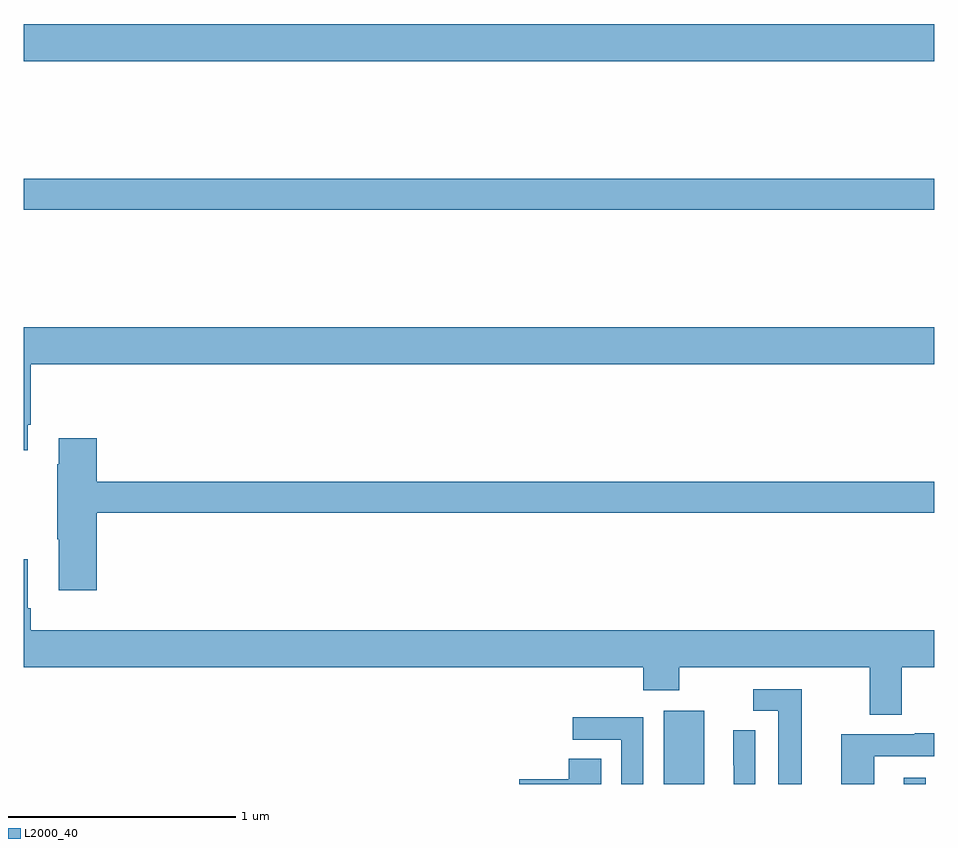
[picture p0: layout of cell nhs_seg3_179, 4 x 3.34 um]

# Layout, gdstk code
import gdstk
lib = gdstk.Library(unit=1e-6, precision=1e-09)
def R(c, l, rs):  # rectangles x0, y0, x1, y1
    for r in rs: c.add(gdstk.rectangle(r[:2], r[2:], *l))
def P(c, l, *ps):  # polygons
    for p in ps: c.add(gdstk.Polygon(p, *l))
L2000_40 = (2000, 40)

nhs_seg3_179 = lib.new_cell('nhs_seg3_179')
R(nhs_seg3_179, L2000_40, [(121.811,704.4,121.99,704.722), (122.867,704.4,122.964,704.428), (119,706.924,123,707.06), (119,707.576,123,707.74)])
P(nhs_seg3_179, L2000_40, [(119.017,705.979),(119.03,705.979),(119.03,706.244),(123,706.244),(123,706.408),(119,706.408),(119,705.867),(119.017,705.867)],
  [(119.321,705.592),(123,705.592),(123,705.728),(119.321,705.728),(119.321,705.919),(119.153,705.919),(119.153,705.806),(119.146,705.806),(119.146,705.475),(119.153,705.475),(119.153,705.252),(119.321,705.252)],
  [(122.857,704.912),(123,704.912),(123,705.076),(119.03,705.076),(119.03,705.172),(119.017,705.172),(119.017,705.388),(119,705.388),(119,704.912),(121.721,704.912),(121.721,704.813),(121.881,704.813),(121.881,704.912),(122.717,704.912),(122.717,704.704),(122.857,704.704)],
  [(122.419,704.817),(122.205,704.817),(122.205,704.721),(122.315,704.721),(122.315,704.4),(122.419,704.4)],
  [(121.722,704.694),(121.413,704.694),(121.413,704.595),(121.626,704.595),(121.626,704.4),(121.722,704.4)],
  [(122.214,704.636),(122.118,704.636),(122.118,704.482),(122.12,704.482),(122.12,704.4),(122.214,704.4)],
  [(122.736,704.523),(123,704.523),(123,704.623),(122.915,704.623),(122.915,704.619),(122.591,704.619),(122.591,704.4),(122.736,704.4)],
  [(121.537,704.51),(121.394,704.51),(121.394,704.42),(121.176,704.42),(121.176,704.4),(121.537,704.4)])

lib.write_gds('nhs_seg3_179.gds')
